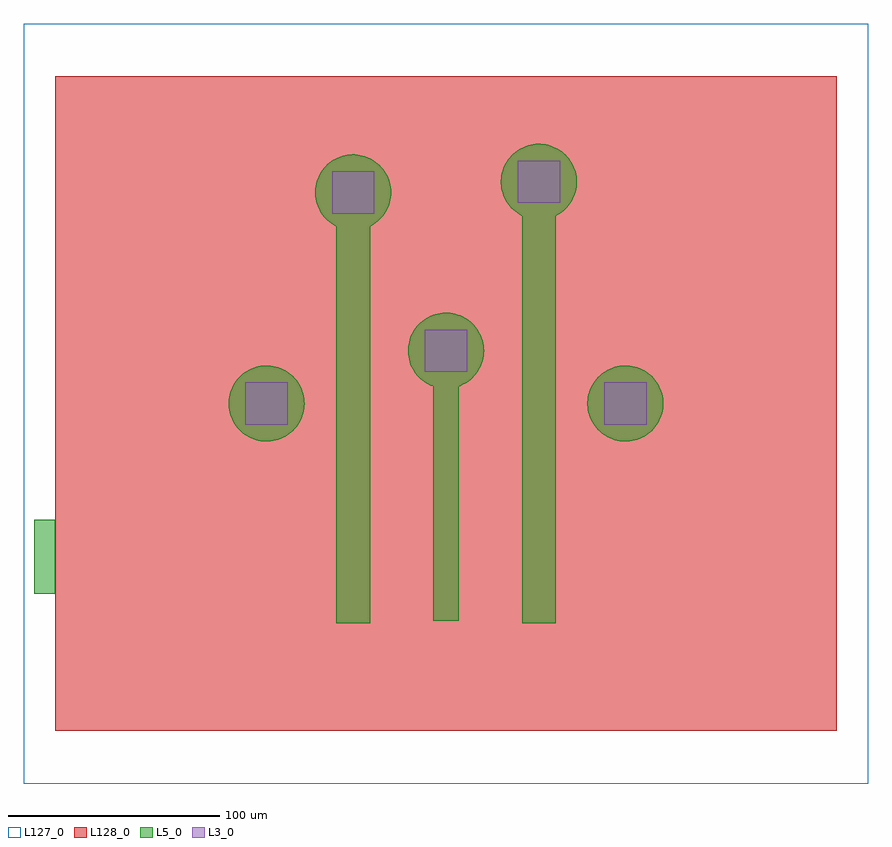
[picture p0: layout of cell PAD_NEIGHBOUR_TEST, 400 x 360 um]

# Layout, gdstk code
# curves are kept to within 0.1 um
import gdstk
lib = gdstk.Library(unit=1e-6, precision=1e-09)
def R(c, l, rs):  # rectangles x0, y0, x1, y1
    for r in rs: c.add(gdstk.rectangle(r[:2], r[2:], *l))
def P(c, l, *ps):  # polygons
    for p in ps: c.add(gdstk.Polygon(p, *l))
L3_0 = (3, 0)
L5_0 = (5, 0)
L77_0 = (77, 0)
L127_0 = (127, 0)
L128_0 = (128, 0)

pad_neighbour_test = lib.new_cell('PAD_NEIGHBOUR_TEST')
R(pad_neighbour_test, L3_0, [(-95,-10,-75,10), (75,-10,95,10), (-10,15,10,35), (-54,90,-34,110), (34,95,54,115)])
R(pad_neighbour_test, L5_0, [(-52,-104,-36,100), (36,-104,52,105), (-6,-103,6,25), (-195,-90,-185,-55)])
P(pad_neighbour_test, L5_0, [(-67,0),(-67.353,3.548),(-68.399,6.957),(-70.096,10.093),(-72.378,12.833),(-75.155,15.069),(-78.318,16.714),(-81.744,17.703),(-85.298,17.998),(-88.839,17.586),(-92.231,16.484),(-95.338,14.735),(-98.04,12.408),(-100.23,9.595),(-101.362,7.502),(-102.52,4.13),(-102.99,0.595),(-102.755,-2.963),(-101.822,-6.404),(-100.23,-9.595),(-98.04,-12.408),(-95.338,-14.735),(-92.231,-16.484),(-88.839,-17.586),(-85.298,-17.998),(-81.744,-17.703),(-78.318,-16.714),(-75.155,-15.069),(-72.378,-12.833),(-70.096,-10.093),(-68.399,-6.957),(-67.353,-3.548)],
  [(18,25),(17.647,28.548),(16.601,31.957),(14.904,35.093),(12.622,37.833),(9.845,40.069),(6.682,41.714),(3.256,42.703),(-0.298,42.998),(-3.839,42.586),(-7.231,41.484),(-10.338,39.735),(-13.04,37.408),(-15.23,34.595),(-16.362,32.502),(-17.52,29.13),(-17.99,25.595),(-17.755,22.037),(-16.822,18.596),(-15.23,15.405),(-13.04,12.592),(-10.338,10.265),(-7.231,8.516),(-3.839,7.414),(-0.298,7.002),(3.256,7.297),(6.682,8.286),(9.845,9.931),(12.622,12.167),(14.904,14.907),(16.601,18.043),(17.647,21.452)],
  [(103,0),(102.647,3.548),(101.601,6.957),(99.904,10.093),(97.622,12.833),(94.845,15.069),(91.682,16.714),(88.256,17.703),(84.702,17.998),(81.161,17.586),(77.769,16.484),(74.662,14.735),(71.96,12.408),(69.77,9.595),(68.638,7.502),(67.48,4.13),(67.01,0.595),(67.245,-2.963),(68.178,-6.404),(69.77,-9.595),(71.96,-12.408),(74.662,-14.735),(77.769,-16.484),(81.161,-17.586),(84.702,-17.998),(88.256,-17.703),(91.682,-16.714),(94.845,-15.069),(97.622,-12.833),(99.904,-10.093),(101.601,-6.957),(102.647,-3.548)],
  [(-26,100),(-26.353,103.548),(-27.399,106.957),(-29.096,110.093),(-31.378,112.833),(-34.155,115.069),(-37.318,116.714),(-40.744,117.703),(-44.298,117.998),(-47.839,117.586),(-51.231,116.484),(-54.338,114.735),(-57.04,112.408),(-59.23,109.595),(-60.362,107.502),(-61.52,104.13),(-61.99,100.595),(-61.755,97.037),(-60.822,93.596),(-59.23,90.405),(-57.04,87.592),(-54.338,85.265),(-51.231,83.516),(-47.839,82.414),(-44.298,82.002),(-40.744,82.297),(-37.318,83.286),(-34.155,84.931),(-31.378,87.167),(-29.096,89.907),(-27.399,93.043),(-26.353,96.452)],
  [(62,105),(61.647,108.548),(60.601,111.957),(58.904,115.093),(56.622,117.833),(53.845,120.069),(50.682,121.714),(47.256,122.703),(43.702,122.998),(40.161,122.586),(36.769,121.484),(33.662,119.735),(30.96,117.408),(28.77,114.595),(27.638,112.502),(26.48,109.13),(26.01,105.595),(26.245,102.037),(27.178,98.596),(28.77,95.405),(30.96,92.592),(33.662,90.265),(36.769,88.516),(40.161,87.414),(43.702,87.002),(47.256,87.297),(50.682,88.286),(53.845,89.931),(56.622,92.167),(58.904,94.907),(60.601,98.043),(61.647,101.452)])
R(pad_neighbour_test, L127_0, [(-200,-180,200,180)])
R(pad_neighbour_test, L128_0, [(-185,-155,185,155)])
pad_neighbour_test.add(gdstk.FlexPath([(5,83),(52,83)], 0, ends="flush", simple_path=True, layer=77, datatype=0))  # L77_0

lib.write_gds('PAD_NEIGHBOUR_TEST.gds')
